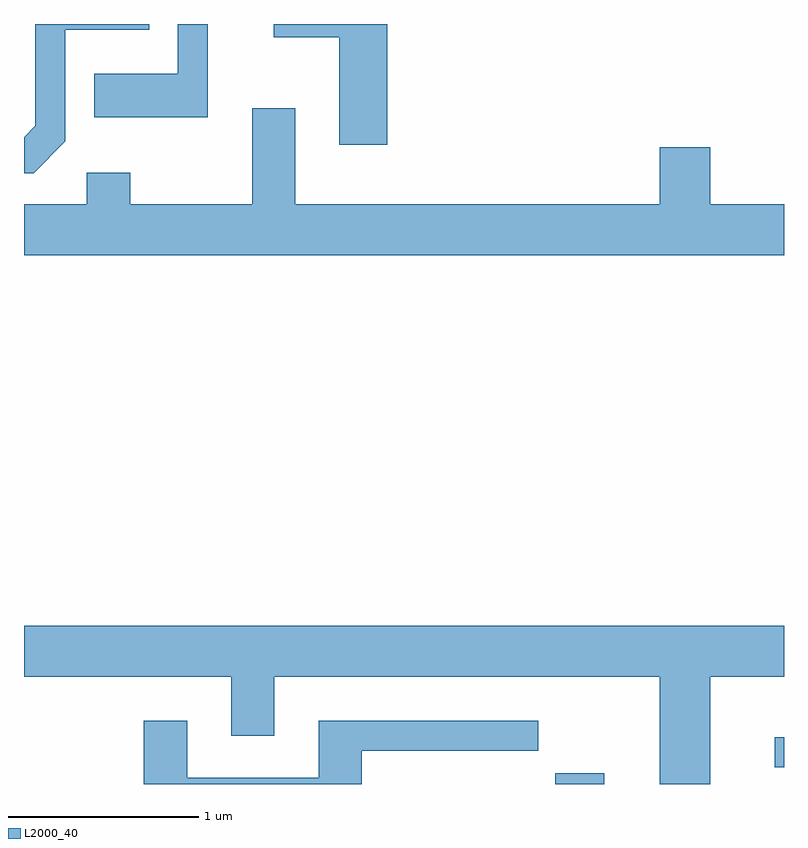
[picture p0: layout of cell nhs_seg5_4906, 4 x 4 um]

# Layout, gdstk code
import gdstk
lib = gdstk.Library(unit=1e-6, precision=1e-09)
def R(c, l, rs):  # rectangles x0, y0, x1, y1
    for r in rs: c.add(gdstk.rectangle(r[:2], r[2:], *l))
def P(c, l, *ps):  # polygons
    for p in ps: c.add(gdstk.Polygon(p, *l))
L2000_40 = (2000, 40)

nhs_seg5_4906 = lib.new_cell('nhs_seg5_4906')
R(nhs_seg5_4906, L2000_40, [(334.406,1394.072,334.664,1394.129), (335.563,1394.161,335.611,1394.319)])
P(nhs_seg5_4906, L2000_40, [(332.579,1398.072),(332.421,1398.072),(332.421,1397.809),(331.981,1397.809),(331.981,1397.581),(332.579,1397.581)],
  [(331.829,1397.454),(331.829,1398.041),(332.269,1398.041),(332.269,1398.072),(331.671,1398.072),(331.671,1397.537),(331.611,1397.476),(331.611,1397.286),(331.662,1397.286)],
  [(333.524,1398.072),(332.926,1398.072),(332.926,1398.001),(333.271,1398.001),(333.271,1397.436),(333.524,1397.436)],
  [(335.611,1397.124),(335.224,1397.124),(335.224,1397.424),(334.956,1397.424),(334.956,1397.124),(333.039,1397.124),(333.039,1397.629),(332.811,1397.629),(332.811,1397.124),(332.169,1397.124),(332.169,1397.289),(331.941,1397.289),(331.941,1397.124),(331.611,1397.124),(331.611,1396.856),(335.611,1396.856)],
  [(335.224,1394.636),(335.611,1394.636),(335.611,1394.904),(331.611,1394.904),(331.611,1394.636),(332.701,1394.636),(332.701,1394.326),(332.929,1394.326),(332.929,1394.636),(334.956,1394.636),(334.956,1394.072),(335.224,1394.072)],
  [(333.389,1394.246),(334.318,1394.246),(334.318,1394.404),(333.161,1394.404),(333.161,1394.104),(332.469,1394.104),(332.469,1394.404),(332.241,1394.404),(332.241,1394.072),(333.389,1394.072)])

lib.write_gds('nhs_seg5_4906.gds')
